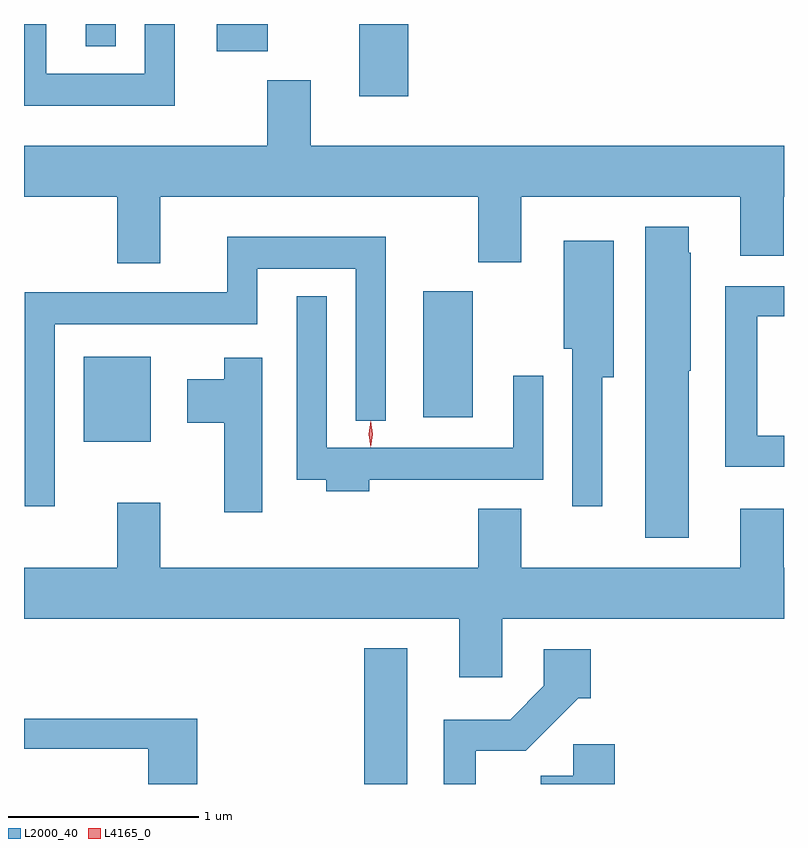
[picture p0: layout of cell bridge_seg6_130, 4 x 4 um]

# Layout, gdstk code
import gdstk
lib = gdstk.Library(unit=1e-6, precision=1e-09)
def R(c, l, rs):  # rectangles x0, y0, x1, y1
    for r in rs: c.add(gdstk.rectangle(r[:2], r[2:], *l))
def P(c, l, *ps):  # polygons
    for p in ps: c.add(gdstk.Polygon(p, *l))
L2000_40 = (2000, 40)
L4165_0 = (4165, 0)

bridge_seg6_130 = lib.new_cell('bridge_seg6_130')
R(bridge_seg6_130, L2000_40, [(1171.001,1626.865,1171.229,1627.579), (1169.526,1628.666,1169.879,1629.114), (1171.311,1628.796,1171.574,1629.459), (1170.976,1630.486,1171.234,1630.865), (1170.226,1630.721,1170.494,1630.865), (1169.536,1630.748,1169.694,1630.865)])
P(bridge_seg6_130, L2000_40, [(1170.004,1630.865),(1169.846,1630.865),(1169.846,1630.604),(1169.329,1630.604),(1169.329,1630.865),(1169.211,1630.865),(1169.211,1630.436),(1170.004,1630.436)],
  [(1170.719,1630.569),(1170.491,1630.569),(1170.491,1630.224),(1169.211,1630.224),(1169.211,1629.956),(1169.701,1629.956),(1169.701,1629.606),(1169.929,1629.606),(1169.929,1629.956),(1171.601,1629.956),(1171.601,1629.611),(1171.829,1629.611),(1171.829,1629.956),(1172.981,1629.956),(1172.981,1629.646),(1173.209,1629.646),(1173.209,1629.956),(1173.211,1629.956),(1173.211,1630.224),(1170.719,1630.224)],
  [(1172.709,1629.04),(1172.719,1629.04),(1172.719,1629.66),(1172.709,1629.66),(1172.709,1629.799),(1172.481,1629.799),(1172.481,1628.161),(1172.709,1628.161)],
  [(1169.374,1629.286),(1170.439,1629.286),(1170.439,1629.576),(1170.956,1629.576),(1170.956,1628.778),(1171.114,1628.778),(1171.114,1629.744),(1170.281,1629.744),(1170.281,1629.454),(1169.216,1629.454),(1169.216,1628.328),(1169.374,1628.328)],
  [(1172.254,1629.006),(1172.314,1629.006),(1172.314,1629.724),(1172.051,1629.724),(1172.051,1629.156),(1172.096,1629.156),(1172.096,1628.328),(1172.254,1628.328)],
  [(1173.211,1628.699),(1173.069,1628.699),(1173.069,1629.326),(1173.211,1629.326),(1173.211,1629.484),(1172.901,1629.484),(1172.901,1628.536),(1173.211,1628.536)],
  [(1171.029,1628.466),(1171.944,1628.466),(1171.944,1629.013),(1171.786,1629.013),(1171.786,1628.634),(1170.804,1628.634),(1170.804,1629.433),(1170.646,1629.433),(1170.646,1628.466),(1170.801,1628.466),(1170.801,1628.406),(1171.029,1628.406)],
  [(1170.464,1629.109),(1170.266,1629.109),(1170.266,1628.994),(1170.071,1628.994),(1170.071,1628.766),(1170.266,1628.766),(1170.266,1628.296),(1170.464,1628.296)],
  [(1171.729,1627.736),(1173.211,1627.736),(1173.211,1628.004),(1173.209,1628.004),(1173.209,1628.314),(1172.981,1628.314),(1172.981,1628.004),(1171.829,1628.004),(1171.829,1628.314),(1171.601,1628.314),(1171.601,1628.004),(1169.929,1628.004),(1169.929,1628.344),(1169.701,1628.344),(1169.701,1628.004),(1169.211,1628.004),(1169.211,1627.736),(1171.501,1627.736),(1171.501,1627.426),(1171.729,1627.426)],
  [(1171.589,1627.041),(1171.852,1627.041),(1172.127,1627.316),(1172.194,1627.316),(1172.194,1627.574),(1171.946,1627.574),(1171.946,1627.382),(1171.769,1627.204),(1171.421,1627.204),(1171.421,1626.865),(1171.589,1626.865)],
  [(1170.124,1627.209),(1169.211,1627.209),(1169.211,1627.051),(1169.866,1627.051),(1169.866,1626.865),(1170.124,1626.865)],
  [(1172.319,1627.074),(1172.101,1627.074),(1172.101,1626.909),(1171.931,1626.909),(1171.931,1626.865),(1172.319,1626.865)])
P(bridge_seg6_130, L4165_0, [(1171.036,1628.637),(1171.036,1628.637),(1171.026,1628.707),(1171.036,1628.776),(1171.036,1628.776),(1171.037,1628.776),(1171.046,1628.707),(1171.037,1628.637)],
  [(1171.036,1628.639),(1171.036,1628.64),(1171.026,1628.706),(1171.036,1628.772),(1171.036,1628.773),(1171.037,1628.772),(1171.046,1628.706),(1171.037,1628.64)])

lib.write_gds('bridge_seg6_130.gds')
